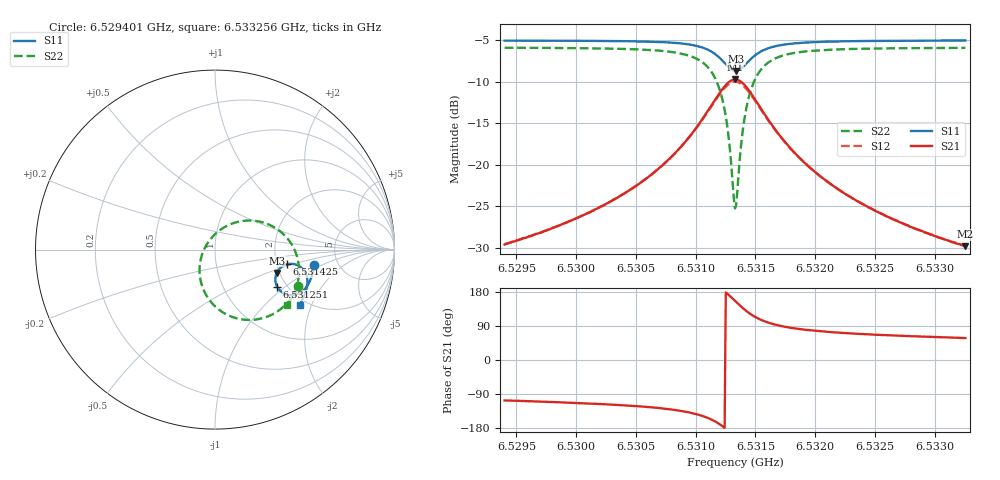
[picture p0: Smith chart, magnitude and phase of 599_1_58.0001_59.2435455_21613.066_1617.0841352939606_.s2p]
#  HZ  S  RI  R  50.00
! Rohde & Schwarz Vector Network Analyzer
! Rohde-Schwarz,ZNB20-2Port,1311601062101988,3.16
! Created: UTC 3/21/2024, 1:17:08 AM
! freq[Hz]  re:S11  im:S11  re:S21  im:S21  re:S12  im:S12  re:S22  im:S22
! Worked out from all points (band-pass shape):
!   401 points, 6.529401 GHz to 6.533256 GHz, reference 50 ohm
!   highest |S21| = -9.71 dB at 6.531329 GHz (marker M1); lowest = -29.8 dB at 6.533256 GHz (marker M2)
!   |S21| within 3 dB of the highest: 6.531137 GHz to 6.531523 GHz (385.7 kHz wide, 0.00591 % of centre)
!   lowest |S11| = -8.7 dB at 6.531338 GHz (marker M3), VSWR 2.16, Z = 96.6 - j29.1 ohm
!   |S11| at or under -10 dB: nowhere
!   |S22| runs from -25.3 to -5.9 dB; largest |S21 - S12| = 0.013
!   S11 on the Smith chart (normalised r, x): 6.529401 GHz: 3.32, -0.84; 6.531251 GHz: 1.78, -0.88; 6.531425 GHz: 2.28, -0.45; 6.533256 GHz: 1.83, -1.64
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6.5294013e9  0.5539 -0.0872  -0.00951 -0.0316  -0.0101 -0.0315  0.4652 -0.2034
6.530047e9  0.5413 -0.1414  -0.0198 -0.0449  -0.0211 -0.0445  0.4305 -0.2632
6.5303746e9  0.5299 -0.1722  -0.0317 -0.057  -0.0333 -0.0562  0.3993 -0.3014
6.5306926e9  0.5101 -0.2071  -0.0569 -0.0763  -0.0592 -0.0746  0.3419 -0.3482
6.5309238e9  0.479 -0.2372  -0.1027 -0.0961  -0.1057 -0.0922  0.25 -0.3858
6.5310876e9  0.4302 -0.2537  -0.1785 -0.0982  -0.1804 -0.0906  0.1127 -0.3807
6.531184e9  0.3816 -0.2428  -0.2531 -0.0624  -0.2509 -0.0516  -0.0096 -0.3062
6.5312515e9  0.3467 -0.2078  -0.3027 0.00843  -0.2945 0.0184  -0.0786 -0.179
6.5312804e9  0.338 -0.1841  -0.3123 0.0521  -0.3017 0.0601  -0.0859 -0.1052
6.5313189e9  0.3378 -0.148  -0.3049 0.1162  -0.2927 0.1203  -0.0622 -0.00213
6.5313285e9  0.3403 -0.139  -0.2991 0.1319  -0.2868 0.1348  -0.0498 0.0223
6.5313382e9  0.3436 -0.1304  -0.2918 0.1467  -0.2795 0.1486  -0.0353 0.0451
6.5313478e9  0.348 -0.1221  -0.2831 0.1607  -0.271 0.1617  -0.0184 0.0666
6.5313864e9  0.3719 -0.0957  -0.2373 0.2055  -0.2274 0.2029  0.064 0.1313
6.5314249e9  0.4012 -0.0818  -0.1845 0.2284  -0.1773 0.2244  0.155 0.1596
6.5314924e9  0.4476 -0.0825  -0.1039 0.2277  -0.1005 0.2241  0.289 0.1439
6.5315887e9  0.4874 -0.1065  -0.036 0.1922  -0.0344 0.1901  0.3979 0.0687
6.5317333e9  0.5099 -0.1446  0.00379 0.1411  0.00493 0.1401  0.4557 -0.0337
6.5319742e9  0.5148 -0.189  0.0198 0.0915  0.0208 0.0911  0.4676 -0.1356
6.5322536e9  0.5087 -0.224  0.0217 0.063  0.0226 0.0626  0.4562 -0.2008
6.5326198e9  0.4962 -0.2587  0.0202 0.0437  0.021 0.0433  0.4359 -0.2529
6.5332557e9  0.4708 -0.3072  0.0172 0.0273  0.0177 0.027  0.4008 -0.311
